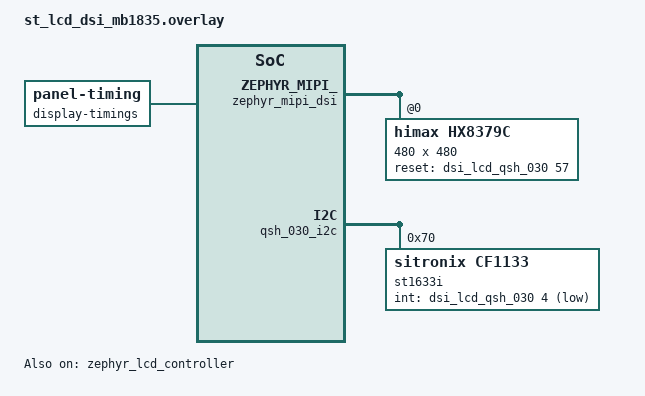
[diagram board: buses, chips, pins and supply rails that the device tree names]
/*
 * Copyright (c) 2025 Charles Dias
 * SPDX-License-Identifier: Apache-2.0
 */

#include <zephyr/dt-bindings/display/panel.h>
#include <zephyr/dt-bindings/mipi_dsi/mipi_dsi.h>

/ {
	chosen {
		zephyr,display = &zephyr_lcd_controller;
		zephyr,touch = &st1633i;
	};
};

&pll3 {
	div-m = <4>;	/* Input divider: 16MHz / 4 = 4MHz */
	mul-n = <125>;	/* Multiplier: 4MHz * 125 = 500MHz VCO */
	div-p = <8>;	/* P output: 500MHz / 8 = 62.5MHz (for DSI clock lane) */
	div-q = <2>;	/* Q output: 500MHz / 2 = 250MHz */
	div-r = <24>;	/* R output: 500MHz / 24 = 20.83MHz (for LTDC pixel clock) */
	clocks = <&clk_hse>;
	status = "okay";
};

&zephyr_mipi_dsi {
	status = "okay";

	pll-ndiv = <125>;	/* PLLDSINDIV = 125 */
	pll-idf = <4>;		/* DSI_PLL_IN_DIV4 */
	pll-odf = <2>;		/* DSI_PLL_OUT_DIV2 */
	pll-vco-range = <0x1>;	/* DSI_DPHY_VCO_FRANGE_800MHZ_1GHZ */
	pll-charge-pump = <0x0>;/* DSI_PLL_CHARGE_PUMP_2000HZ_4400HZ */
	pll-tuning = <0x0>;	/* DSI_PLL_LOOP_FILTER_2000HZ_4400HZ */

	phy-freq-range = <0x8>;		/* DSI_DPHY_FRANGE_450MHZ_510MHZ */
	phy-low-power-offset = <0x0>;	/* PHY_LP_OFFSSET_0_CLKP */

	hs-active-high;
	vs-active-high;
	de-active-high;
	largest-packet-size = <0>;

	host-timeouts = <1>,	/* TimeoutCkdiv */
			<0>,	/* HighSpeedTransmissionTimeout */
			<0>,	/* LowPowerReceptionTimeout */
			<0>,	/* HighSpeedReadTimeout */
			<0>,	/* LowPowerReadTimeout */
			<0>,	/* HighSpeedWriteTimeout */
			<0>,	/* HighSpeedWritePrespMode */
			<0>,	/* LowPowerWriteTimeout */
			<0>;	/* BTATimeout */

	phy-timings = <11>,	/* ClockLaneHS2LPTime */
		      <40>,	/* ClockLaneLP2HSTime */
		      <12>,	/* DataLaneHS2LPTime */
		      <23>,	/* DataLaneLP2HSTime */
		      <0>,	/* DataLaneMaxReadTime */
		      <7>;	/* StopWaitTime */

	hx8379c: hx8379c@0 {
		status = "okay";
		compatible = "himax,hx8379c";
		reg = <0x0>; /* Virtual channel 0 */
		width = <480>;
		height = <480>;
		data-lanes = <2>;
		pixel-format = <MIPI_DSI_PIXFMT_RGB888>;

		reset-gpios = <&dsi_lcd_qsh_030 57 GPIO_ACTIVE_HIGH>;

		display-timings {
			compatible = "zephyr,panel-timing";
			hsync-active = <1>;
			vsync-active = <1>;
			de-active = <0>;
			pixelclk-active = <0>;
			hsync-len = <2>;
			hback-porch = <1>;
			hfront-porch = <1>;
			vsync-len = <1>;
			vback-porch = <13>;
			vfront-porch = <50>;
		};
	};
};

&zephyr_lcd_controller {
	status = "okay";
	width = <480>;
	height = <480>;
	pixel-format = <PANEL_PIXEL_FORMAT_ARGB_8888>;

	bl-ctrl-gpios = <&dsi_lcd_qsh_030 53 GPIO_ACTIVE_HIGH>;

	def-back-color-red = <0>;
	def-back-color-green = <0>;
	def-back-color-blue = <0>;

	/* J025F1CN0201W display module */
	display-timings {
		compatible = "zephyr,panel-timing";
		hsync-active = <1>;
		vsync-active = <1>;
		de-active = <0>;
		pixelclk-active = <0>;
		hsync-len = <2>;
		hback-porch = <1>;
		hfront-porch = <1>;
		vsync-len = <1>;
		vback-porch = <13>;
		vfront-porch = <50>;
	};
};

&qsh_030_i2c {
	st1633i: st1633i@70 {
		compatible = "sitronix,cf1133";
		reg = <0x70>;
		int-gpios = <&dsi_lcd_qsh_030 4 GPIO_ACTIVE_LOW>;
		status = "okay";
	};
};
